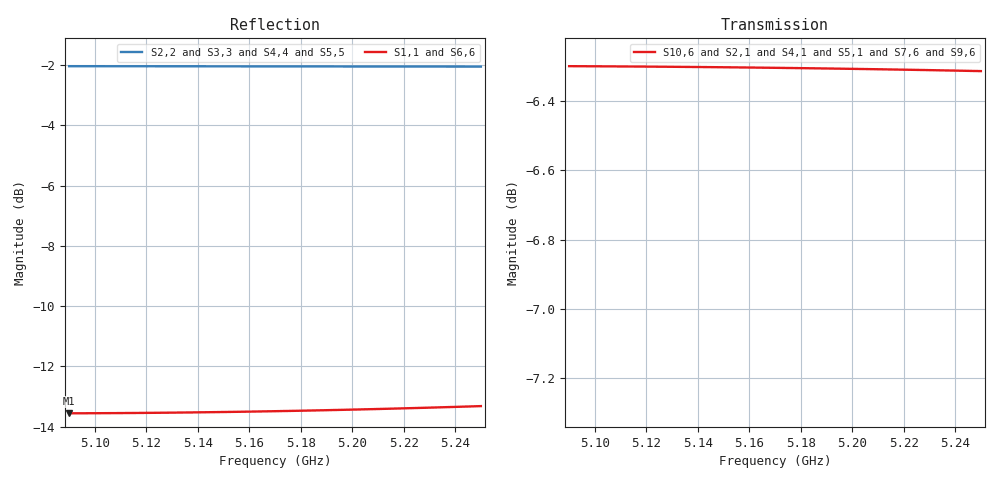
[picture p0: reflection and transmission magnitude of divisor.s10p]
! Touchstone file exported from HFSS 2024.2.0
!  File:  D:/dev/EMBRAER/P2M21/R00_Concepcao/divisor_1x4/P2M21_Duplo_1x4.aedt
!  Generated:  03:55:14 PM Nov  8, 2026
!  Design:  PCB_separada
!  Project:  P2M21_Duplo_1x4
!  Setup:  Centro
!  Solution:  Banda17
# GHz S RI R 50.000000
! Terminal data exported
! Port[1] = A_IN
! Port[2] = A1
! Port[3] = A2
! Port[4] = A3
! Port[5] = A4
! Port[6] = B_IN
! Port[7] = B1
! Port[8] = B2
! Port[9] = B3
! Port[10] = B4
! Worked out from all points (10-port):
!   17 points, 5.09 GHz to 5.25 GHz, reference 50 ohm
!   strongest paths, dB at 5.09 GHz, 5.13 GHz, 5.17 GHz, 5.21 GHz, 5.25 GHz:
!     S10,6: -6.3, -6.3, -6.3, -6.3, -6.3
!     S2,1: -6.3, -6.3, -6.3, -6.3, -6.3
!     S4,1: -6.3, -6.3, -6.3, -6.3, -6.4
!     S5,1: -6.3, -6.3, -6.3, -6.3, -6.4
!     S7,6: -6.4, -6.4, -6.4, -6.4, -6.4
!     S9,6: -6.4, -6.4, -6.4, -6.4, -6.4
!   lowest |S11| = -13.6 dB at 5.09 GHz (marker M1), VSWR 1.53, Z = 69.1 - j16.5 ohm
!   |S11| at or under -10 dB: start of sweep to end of sweep
